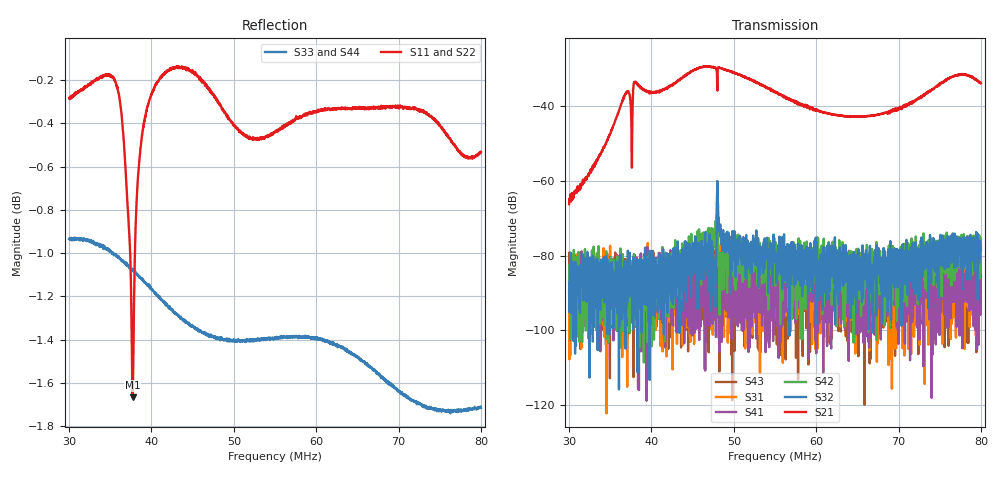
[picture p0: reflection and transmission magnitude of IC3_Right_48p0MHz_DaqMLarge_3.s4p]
#  HZ  S  DB  R  50.00
! Rohde & Schwarz Vector Network Analyzer
! Rohde-Schwarz,ZNB8-4Port,1311601044102961,2.82
! Created: UTC 2/12/2019, 1:58:40 PM
! freq[Hz]  db:S11  ang:S11  db:S12  ang:S12  db:S13  ang:S13  db:S14  ang:S14
!  db:S21  ang:S21  db:S22  ang:S22  db:S23  ang:S23  db:S24  ang:S24
!  db:S31  ang:S31  db:S32  ang:S32  db:S33  ang:S33  db:S34  ang:S34
!  db:S41  ang:S41  db:S42  ang:S42  db:S43  ang:S43  db:S44  ang:S44
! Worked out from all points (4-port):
!   2001 points, 30 MHz to 80 MHz, reference 50 ohm
!   strongest paths, dB at 30 MHz, 42.5 MHz, 55 MHz, 67.5 MHz, 80 MHz:
!     S21: -66.3, -34.6, -36.4, -42.4, -34.0
!     S32: -95.0, -88.8, -79.4, -81.4, -78.4
!     S42: -90.2, -82.8, -86.2, -84.8, -77.4
!     S41: -86.5, -83.2, -88.7, -88.3, -89.4
!     S31: -89.3, -95.0, -92.3, -90.1, -89.9
!     S43: -87.8, -83.0, -85.3, -93.0, -85.4
!   lowest |S11| = -1.7 dB at 37.73 MHz (marker M1), VSWR 10.46, Z = 44.9 - j138 ohm
!   |S11| at or under -10 dB: nowhere
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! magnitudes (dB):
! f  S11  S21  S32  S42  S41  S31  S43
! 30 MHz  -0.3  -66.3  -95.0  -90.2  -86.5  -89.3  -87.8
! 37.73 MHz  -1.7  -38.9  -87.9  -86.1  -87.2  -82.7  -92.2
! 47.6 MHz  -0.3  -29.9  -86.7  -73.9  -79.9  -89.9  -97.2
! 48.17 MHz  -0.3  -29.8  -69.9  -83.0  -82.7  -87.1  -88.7
! 50.77 MHz  -0.4  -31.8  -76.1  -78.1  -83.9  -91.5  -83.9
! 64.38 MHz  -0.3  -42.8  -84.1  -80.8  -90.4  -87.3  -92.5
! 80 MHz  -0.5  -34.0  -78.4  -77.4  -89.4  -89.9  -85.4
